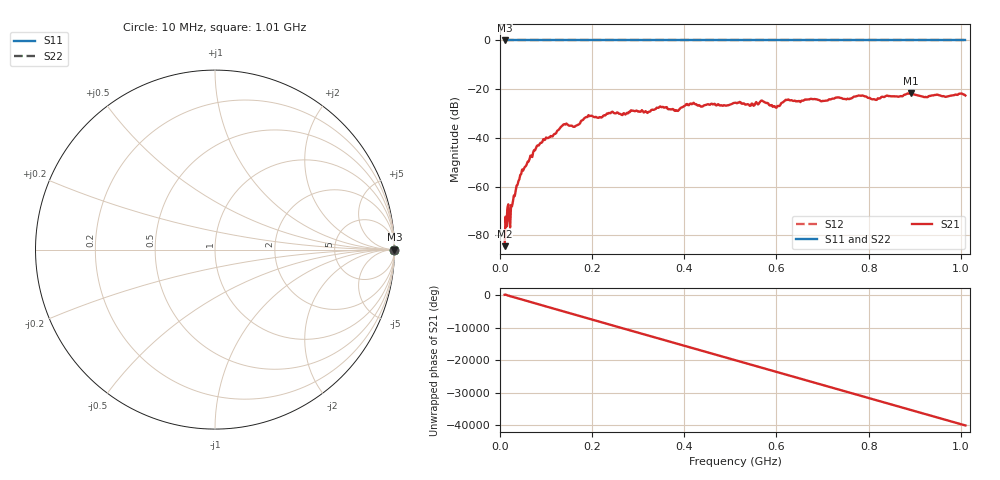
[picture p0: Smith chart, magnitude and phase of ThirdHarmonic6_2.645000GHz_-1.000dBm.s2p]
! 8/17/2025 6:00:10 AM
! C:\ANRITSUVNA\TEMP\TEMP.S2P
! CHANNEL.1
! TR.MEASUREMENT
! RAW.DATA
! RF.CORRECTION.OFF
! AVERAGING.OFF
! IF.BANDWIDTH: 5KHZ
! SWEEPTYPE:  FREQ.SWEEP(Linear)
! Reference Plane Port Info
! PORT:  PORT1  PORT2
! DISTANCE:  0  m  0  m
! TIME:  0  s  0  s
! PHASE.OFFSET:  0  deg.  0  deg.
! LOSS:  0  dB  0  dB
! REF.LOSS:  0  dB  0  dB
! REF.FREQ:  0  Hz  0  Hz
! Power Info
! POWER:  -20  dBm  -20  dBm
! EFF.POWER:  -20  dBm  -20  dBm
! SOURCE.ATTEN:  0  dB  0  dB
! TEST.ATTEN:  0  dB  0  dB
# GHZ S RI R 50.0
! FREQ.GHZ  S11RE  S11IM  S21RE  S21IM  S12RE  S12IM  S22RE  S22IM
!; PortSelection: Port_12
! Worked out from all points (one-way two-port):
!   501 points, 10 MHz to 1.01 GHz, reference 50 ohm
!   highest |S21| = -21.73 dB at 892 MHz (marker M1); lowest = -84.5 dB at 10 MHz (marker M2)
!   lowest |S11| = 0.0 dB at 10 MHz (marker M3)
!   |S11| at or under -10 dB: nowhere
!   |S22| runs from 0.0 to 0.0 dB; largest |S21 - S12| = 1.1
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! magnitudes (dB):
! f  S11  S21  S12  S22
! 10 MHz  0.0  -84.5  0.0  0.0
! 14 MHz  0.0  -76.5  0.0  0.0
! 24 MHz  0.0  -67.6  0.0  0.0
! 28 MHz  0.0  -66.2  0.0  0.0
! 44 MHz  0.0  -55.2  0.0  0.0
! 78 MHz  0.0  -44.2  0.0  0.0
! 136 MHz  0.0  -34.9  0.0  0.0
! 162 MHz  0.0  -35.5  0.0  0.0
! 178 MHz  0.0  -32.8  0.0  0.0
! 196 MHz  0.0  -31.0  0.0  0.0
! 322 MHz  0.0  -29.4  0.0  0.0
! 344 MHz  0.0  -27.7  0.0  0.0
! 384 MHz  0.0  -28.8  0.0  0.0
! 416 MHz  0.0  -26.2  0.0  0.0
! 510 MHz  0.0  -25.6  0.0  0.0
! 570 MHz  0.0  -24.9  0.0  0.0
! 596 MHz  0.0  -27.0  0.0  0.0
! 622 MHz  0.0  -24.5  0.0  0.0
! 678 MHz  0.0  -24.1  0.0  0.0
! 844 MHz  0.0  -22.9  0.0  0.0
! 892 MHz  0.0  -21.7  0.0  0.0
! 1.01 GHz  0.0  -22.6  0.0  0.0
